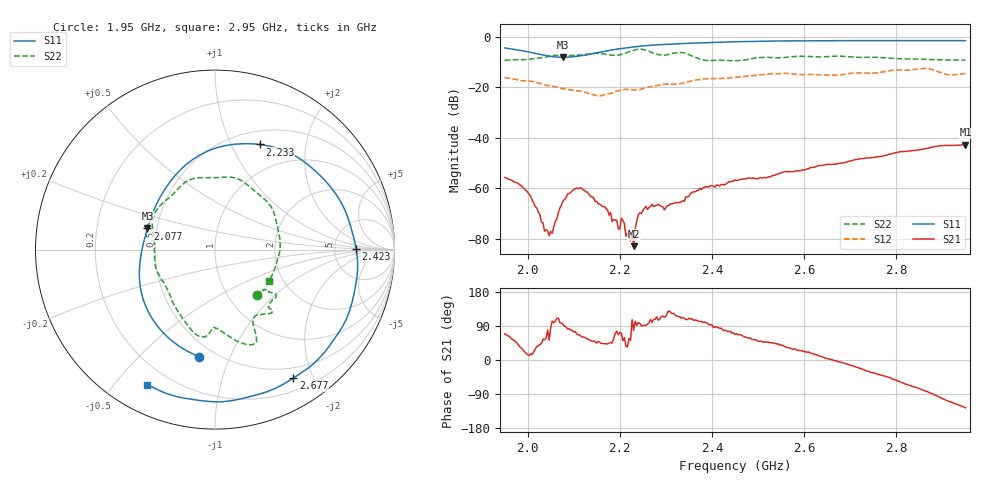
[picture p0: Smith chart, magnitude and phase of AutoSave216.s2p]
!Agilent N9923A: A.07.32
!Date: Thursday, 02 June 2016 02:51:00
!Model: N9923A
!Serial: MY52412257
!GPS Latitude:
!GPS Longitude:
!GPS TimeStamp: 0001-01-01 00:00:00Z
!GPS Seconds Since Last Read: 0
!CHECKSUM:1505415603
!Correction: S11(ON U)S21(ON U)S12(ON U)S22(ON U)
!S2P File: Measurements:S11,S21,S12,S22:
# Hz S DB R 50
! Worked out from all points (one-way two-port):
!   301 points, 1.95 GHz to 2.95 GHz, reference 50 ohm
!   highest |S21| = -42.69 dB at 2.95 GHz (marker M1); lowest = -82.9 dB at 2.23 GHz (marker M2)
!   lowest |S11| = -8.1 dB at 2.077 GHz (marker M3), VSWR 2.30, Z = 22.1 + j6.17 ohm
!   |S11| at or under -10 dB: nowhere
!   |S22| runs from -9.4 to -4.9 dB; largest |S21 - S12| = 0.23
!   S11 on the Smith chart (normalised r, x): 1.95 GHz: 0.41, -0.78; 2.077 GHz: 0.44, +0.12; 2.233 GHz: 0.66, +1.29; 2.423 GHz: 8.36, +0.14; 2.677 GHz: 0.36, -1.72; 2.95 GHz: 0.12, -0.61
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1.95e9  -4.39 -98.3  -55.67 68.6  -16.07 151.8  -9.27 -47.5
2e9  -5.91 -137.8  -61.54 14.2  -17.53 137.3  -8.90 -38.3
2.046667e9  -7.65 -175.2  -78.73 52.3  -19.34 131.2  -7.60 -36.2
2.076667e9  -8.09 162.6  -65.00 94.2  -20.52 126.9  -7.42 -40.7
2.12e9  -7.38 134.0  -60.52 60.5  -21.70 119.4  -7.05 -47.3
2.18e9  -5.27 95.9  -69.48 46.4  -22.33 117.8  -7.22 -56.2
2.196667e9  -4.79 86.3  -75.94 66.5  -21.30 117.8  -7.19 -60.4
2.203333e9  -4.62 82.6  -71.81 71.2  -20.99 117.7  -6.95 -61.8
2.21e9  -4.46 79.0  -73.79 59.2  -20.82 117.5  -6.62 -62.9
2.213333e9  -4.38 77.2  -78.90 36.0  -20.80 117.5  -6.40 -63.3
2.23e9  -4.00 68.6  -82.87 78.1  -20.97 117.6  -5.31 -64.8
2.233333e9  -3.92 67.0  -76.00 102.5  -20.99 117.7  -5.16 -65.3
2.24e9  -3.79 63.8  -70.53 98.9  -20.92 117.6  -4.95 -66.6
2.256667e9  -3.49 56.2  -67.17 92.2  -20.14 112.9  -5.28 -73.6
2.286667e9  -3.11 43.6  -66.76 107.6  -19.11 99.1  -7.15 -88.5
2.336667e9  -2.63 25.6  -64.92 112.1  -18.31 83.4  -6.20 -100.8
2.423333e9  -2.09 0.2  -58.44 79.3  -16.41 31.6  -9.29 -167.5
2.453333e9  -1.92 -7.4  -56.84 69.4  -15.99 22.0  -9.43 178.0
2.62e9  -1.53 -46.4  -51.67 16.6  -14.91 -49.2  -7.88 96.9
2.676667e9  -1.53 -58.6  -50.08 -5.3  -15.10 -67.7  -7.65 72.3
2.783333e9  -1.47 -80.7  -46.52 -45.7  -13.41 -106.6  -8.42 27.2
2.95e9  -1.51 -116.6  -42.69 -126.1  -14.49 -169.1  -9.21 -30.4
